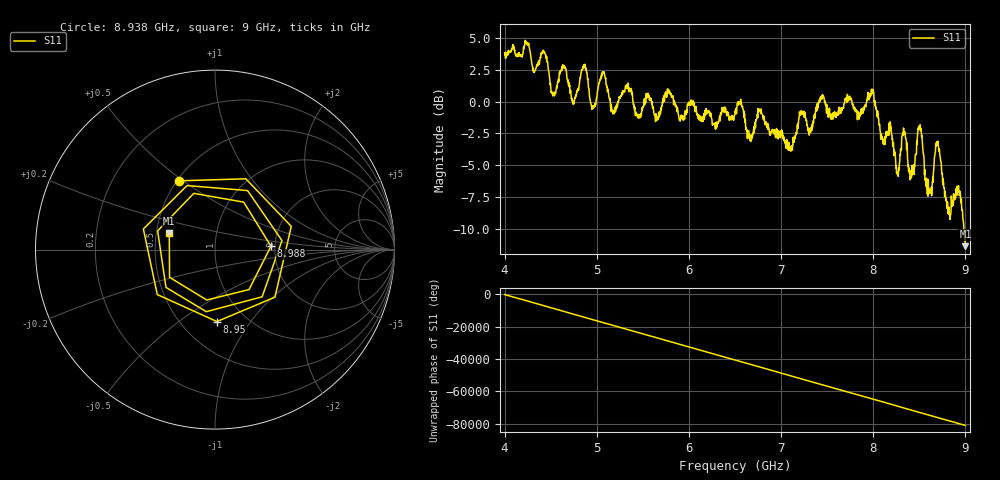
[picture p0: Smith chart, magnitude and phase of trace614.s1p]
! Created with skrf 1.8.0 (http://scikit-rf.org).
# Hz S RI R 50.0
!freq ReS11 ImS11
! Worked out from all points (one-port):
!   1601 points, 4 GHz to 9 GHz, reference 50 ohm
!   lowest |S11| = -11.3 dB at 9 GHz (marker M1), VSWR 1.74, Z = 29.3 + j5.86 ohm
!   |S11| at or under -10 dB: 8.983149 GHz to end of sweep
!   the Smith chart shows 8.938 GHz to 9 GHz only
!   S11 on the Smith chart (normalised r, x): 8.938 GHz: 0.51, +0.48; 8.95 GHz: 0.74, -0.70; 8.988 GHz: 1.90, +0.08; 9 GHz: 0.59, +0.12
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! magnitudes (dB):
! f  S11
! 4 GHz  3.8
! 4.431 GHz  3.8
! 4.528 GHz  0.7
! 4.625 GHz  2.8
! 4.747 GHz  0.0
! 4.859 GHz  2.9
! 4.956 GHz  -0.5
! 5.066 GHz  2.3
! 5.175 GHz  -1.0
! 5.25 GHz  0.4
! 5.875 GHz  -0.5
! 6.5 GHz  -1.0
! 7.125 GHz  -3.4
! 7.225 GHz  -0.9
! 7.75 GHz  0.2
! 7.981 GHz  1.0
! 8.259 GHz  -5.5
! 8.334 GHz  -2.6
! 8.375 GHz  -4.6
! 8.425 GHz  -5.5
! 8.506 GHz  -1.9
! 8.597 GHz  -6.1
! 8.697 GHz  -3.3
! 8.819 GHz  -8.8
! 8.938 GHz  -7.3
! 8.95 GHz  -7.9
! 8.988 GHz  -10.1
! 9 GHz  -11.3
